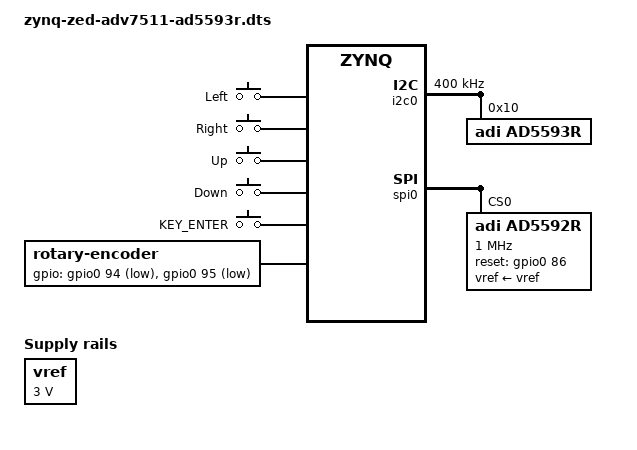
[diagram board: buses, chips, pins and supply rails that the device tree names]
/dts-v1/;

#include "zynq-zed.dtsi"
#include "zynq-zed-adv7511.dtsi"

/*
 * USING:
 * https://github.com/analogdevicesinc/hdl/tree/master/projects/cftl_std/zed
 */

/*
 * I2C:
 * JB3 SCL, JB4 SDA
 */

/*
 * SPI:
 * spi0_csn      # "JA1"
 * spi0_mosi     # "JA2"
 * spi0_miso     # "JA3"
 * spi0_clk      # "JA4"
 * gpio_cftl[0]] # "JA9"        GPIO 54 + 32 + 0
 * gpio_cftl[1]] # "JA10"       GPIO 54 + 32 + 1
 */

#include <dt-bindings/input/input.h>
#include <dt-bindings/gpio/gpio.h>
#include <dt-bindings/interrupt-controller/irq.h>

#include <dt-bindings/iio/adi,ad5592r.h>

/ {

	vref: regulator-vref {
		compatible = "regulator-fixed";
		regulator-name = "vref-ad559x";
		regulator-min-microvolt = <3000000>;
		regulator-max-microvolt = <3000000>;
		regulator-always-on;
	};

	gpio_keys {
		compatible = "gpio-keys";
		#address-cells = <1>;
		#size-cells = <0>;
		interrupt-parent = <&gpio0>;
		autorepeat;

		s5 {
			label = "Left";
			linux,code = <KEY_LEFT>;
			interrupts = <93 IRQ_TYPE_EDGE_FALLING>;
		};

		s3 {
			label = "Right";
			linux,code = <KEY_RIGHT>;
			interrupts = <91 IRQ_TYPE_EDGE_FALLING>;
		};

		s4 {
			label = "Up";
			linux,code = <KEY_UP>;
			interrupts = <92 IRQ_TYPE_EDGE_FALLING>;
		};

		s2 {
			label = "Down";
			linux,code = <KEY_DOWN>;
			interrupts = <90 IRQ_TYPE_EDGE_FALLING>;
		};

		s1 {
			label = "KEY_ENTER";
			linux,code = <28>;
			interrupts = <89 IRQ_TYPE_EDGE_FALLING>;
		};

	};

	rotary {
			compatible = "rotary-encoder";
			gpios = <&gpio0 94 1>, <&gpio0 95 1>;
			linux,axis = <1>; /* ABS_Y */
			rotary-encoder,steps = <24>;
			rotary-encoder,steps-per-period = <2>;
			rotary-encoder,rollover;
	};

};

&i2c0 {
	status = "okay";
	clock-frequency = <400000>;

	ad5593r@10 {
		#size-cells = <0>;
		#address-cells = <1>;
		#gpio-cells = <2>;
		compatible = "adi,ad5593r";
		reg = <0x10>;
		gpio-controller;

		channel@0 {
			reg = <0>;
			adi,mode = <CH_MODE_DAC>;
			adi,off-state = <CH_OFFSTATE_PULLDOWN>;
		};
		channel@1 {
			reg = <1>;
			adi,mode = <CH_MODE_ADC>;
			adi,off-state = <CH_OFFSTATE_PULLDOWN>;
		};
		channel@2 {
			reg = <2>;
			adi,mode = <CH_MODE_DAC_AND_ADC>;
			adi,off-state = <CH_OFFSTATE_PULLDOWN>;
		};
		channel@6 {
			reg = <6>;
			adi,mode = <CH_MODE_GPIO>;
			adi,off-state = <CH_OFFSTATE_PULLDOWN>;
		};
	};
};

&spi0 {
	status = "okay";
	num-cs = <4>;
	is-decoded-cs = <0>;

	ad5592r@0 {
		#size-cells = <0>;
		#address-cells = <1>;
		#gpio-cells = <2>;
		compatible = "adi,ad5592r";
		reg = <0>;

		spi-max-frequency = <1000000>;
		spi-cpol;

		vref-supply = <&vref>; /* optional */
		reset-gpios = <&gpio0 86 0>;  /* optional */
		gpio-controller;

		channel@0 {
			reg = <0>;
			adi,mode = <CH_MODE_DAC>;
		};
		channel@1 {
			reg = <1>;
			adi,mode = <CH_MODE_ADC>;
		};
		channel@2 {
			reg = <2>;
			adi,mode = <CH_MODE_DAC_AND_ADC>;
		};
		channel@3 {
			reg = <3>;
			adi,mode = <CH_MODE_DAC_AND_ADC>;
			adi,off-state = <CH_OFFSTATE_PULLDOWN>;
		};
		channel@4 {
			reg = <4>;
			adi,mode = <CH_MODE_UNUSED>;
			adi,off-state = <CH_OFFSTATE_PULLDOWN>;
		};
		channel@5 {
			reg = <5>;
			adi,mode = <CH_MODE_GPIO>;
			adi,off-state = <CH_OFFSTATE_PULLDOWN>;
		};
		channel@6 {
			reg = <6>;
			adi,mode = <CH_MODE_GPIO>;
			adi,off-state = <CH_OFFSTATE_PULLDOWN>;
		};
		channel@7 {
			reg = <7>;
			adi,mode = <CH_MODE_GPIO>;
			adi,off-state = <CH_OFFSTATE_PULLDOWN>;
		};
	};
};
